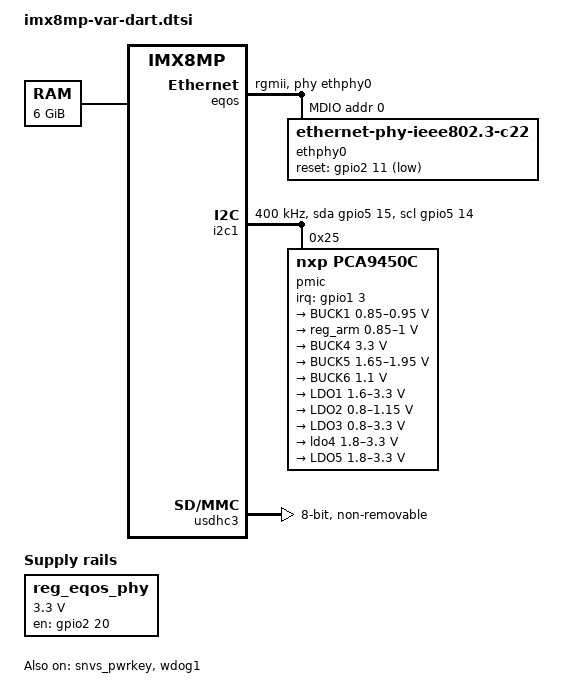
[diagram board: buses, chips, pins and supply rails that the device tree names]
// SPDX-License-Identifier: GPL-2.0-or-later OR MIT
/*
 * Copyright 2019 NXP
 * Copyright 2020-2021 Variscite Ltd.
 * Copyright 2023 Ideas on Board Oy
 */

/dts-v1/;

#include "imx8mp.dtsi"

/ {
	aliases {
		ethernet0 = &eqos;
		ethernet1 = &fec;
	};

	memory@40000000 {
		device_type = "memory";
		reg = <0x0 0x40000000 0 0xc0000000>,
		      <0x1 0x00000000 0 0xc0000000>;
	};

	reg_eqos_phy: regulator-eqos-phy {
		compatible = "regulator-fixed";
		regulator-name = "eqos-phy";
		regulator-min-microvolt = <3300000>;
		regulator-max-microvolt = <3300000>;
		gpio = <&gpio2 20 GPIO_ACTIVE_HIGH>;
		enable-active-high;
		regulator-always-on;
	};
};

&A53_0 {
	cpu-supply = <&reg_arm>;
};

&A53_1 {
	cpu-supply = <&reg_arm>;
};

&A53_2 {
	cpu-supply = <&reg_arm>;
};

&A53_3 {
	cpu-supply = <&reg_arm>;
};

&eqos {
	pinctrl-names = "default";
	pinctrl-0 = <&pinctrl_eqos>;
	phy-mode = "rgmii";
	phy-handle = <&ethphy0>;
	status = "okay";

	mdio {
		compatible = "snps,dwmac-mdio";
		#address-cells = <1>;
		#size-cells = <0>;

		ethphy0: ethernet-phy@0 {
			compatible = "ethernet-phy-ieee802.3-c22";
			reg = <0>;

			pinctrl-names = "default";
			pinctrl-0 = <&pinctrl_eth_phy>;

			eee-broken-1000t;
			reset-gpios = <&gpio2 11 GPIO_ACTIVE_LOW>;
			reset-assert-us = <10000>;
			reset-deassert-us = <20000>;
		};
	};
};

&i2c1 {
	clock-frequency = <400000>;
	pinctrl-names = "default", "gpio";
	pinctrl-0 = <&pinctrl_i2c1>;
	pinctrl-1 = <&pinctrl_i2c1_gpio>;
	scl-gpios = <&gpio5 14 (GPIO_ACTIVE_HIGH | GPIO_OPEN_DRAIN)>;
	sda-gpios = <&gpio5 15 (GPIO_ACTIVE_HIGH | GPIO_OPEN_DRAIN)>;
	status = "okay";

	pmic@25 {
		compatible = "nxp,pca9450c";
		reg = <0x25>;
		pinctrl-names = "default";
		pinctrl-0 = <&pinctrl_pmic>;
		interrupt-parent = <&gpio1>;
		interrupts = <3 IRQ_TYPE_LEVEL_LOW>;

		regulators {
			/*
			 * Powers VDD_SOC. Set the output voltage range to the
			 * typical values for the nominal and overdrive modes.
			 */
			BUCK1 {
				regulator-name = "BUCK1";
				regulator-min-microvolt = <850000>;
				regulator-max-microvolt = <950000>;
				regulator-boot-on;
				regulator-always-on;
				regulator-ramp-delay = <3125>;
			};

			/*
			 * Powers VDD_ARM. Set the output voltage range to the
			 * typical values for the nominal, overdrive and super
			 * overdrive modes.
			 */
			reg_arm: BUCK2 {
				regulator-name = "BUCK2";
				regulator-min-microvolt = <850000>;
				regulator-max-microvolt = <1000000>;
				regulator-boot-on;
				regulator-always-on;
				regulator-ramp-delay = <3125>;
				nxp,dvs-run-voltage = <950000>;
				nxp,dvs-standby-voltage = <850000>;
			};

			/*
			 * Likely powers various 3.3V peripherals. Set the
			 * output voltage to 3.3V.
			 */
			BUCK4 {
				regulator-name = "BUCK4";
				regulator-min-microvolt = <3300000>;
				regulator-max-microvolt = <3300000>;
				regulator-boot-on;
				regulator-always-on;
			};

			/*
			 * Powers at least NVCC_SAI1_SAI5 and the ethernet PHY.
			 * The boot loader sets it to 1.85V to fix an ethernet
			 * PHY reset issue. Set the output voltage range to the
			 * i.MX8MP operating range for 1.8V I/O.
			 */
			BUCK5 {
				regulator-name = "BUCK5";
				regulator-min-microvolt = <1650000>;
				regulator-max-microvolt = <1950000>;
				regulator-boot-on;
				regulator-always-on;
			};

			/*
			 * Likely powers NVCC_DRAM. The board uses LPDDR4, set
			 * the output voltage to 1.1V.
			 */
			BUCK6 {
				regulator-name = "BUCK6";
				regulator-min-microvolt = <1100000>;
				regulator-max-microvolt = <1100000>;
				regulator-boot-on;
				regulator-always-on;
			};

			LDO1 {
				regulator-name = "LDO1";
				regulator-min-microvolt = <1600000>;
				regulator-max-microvolt = <3300000>;
				regulator-boot-on;
				regulator-always-on;
			};

			LDO2 {
				regulator-name = "LDO2";
				regulator-min-microvolt = <800000>;
				regulator-max-microvolt = <1150000>;
				regulator-boot-on;
				regulator-always-on;
			};

			LDO3 {
				regulator-name = "LDO3";
				regulator-min-microvolt = <800000>;
				regulator-max-microvolt = <3300000>;
				regulator-boot-on;
				regulator-always-on;
			};

			/* Powers NVCC_SAI1_SAI5. */
			ldo4: LDO4 {
				regulator-name = "LDO4";
				regulator-min-microvolt = <1800000>;
				regulator-max-microvolt = <3300000>;
				regulator-always-on;
			};

			LDO5 {
				regulator-name = "LDO5";
				regulator-min-microvolt = <1800000>;
				regulator-max-microvolt = <3300000>;
			};
		};
	};
};

&snvs_pwrkey {
	status = "okay";
};

/* eMMC */
&usdhc3 {
	pinctrl-names = "default", "state_100mhz", "state_200mhz";
	pinctrl-0 = <&pinctrl_usdhc3>;
	pinctrl-1 = <&pinctrl_usdhc3_100mhz>;
	pinctrl-2 = <&pinctrl_usdhc3_200mhz>;
	bus-width = <8>;
	no-sd;
	no-sdio;
	non-removable;
	status = "okay";
};

&wdog1 {
	pinctrl-names = "default";
	pinctrl-0 = <&pinctrl_wdog>;
	fsl,ext-reset-output;
	status = "okay";
};

&iomuxc {
	pinctrl_eqos: eqosgrp {
		fsl,pins = <
			MX8MP_IOMUXC_ENET_MDC__ENET_QOS_MDC				0x2
			MX8MP_IOMUXC_ENET_MDIO__ENET_QOS_MDIO				0x2
			MX8MP_IOMUXC_ENET_RD0__ENET_QOS_RGMII_RD0			0x90
			MX8MP_IOMUXC_ENET_RD1__ENET_QOS_RGMII_RD1			0x90
			MX8MP_IOMUXC_ENET_RD2__ENET_QOS_RGMII_RD2			0x90
			MX8MP_IOMUXC_ENET_RD3__ENET_QOS_RGMII_RD3			0x90
			MX8MP_IOMUXC_ENET_RXC__CCM_ENET_QOS_CLOCK_GENERATE_RX_CLK	0x90
			MX8MP_IOMUXC_ENET_RX_CTL__ENET_QOS_RGMII_RX_CTL			0x90
			MX8MP_IOMUXC_ENET_TD0__ENET_QOS_RGMII_TD0			0x16
			MX8MP_IOMUXC_ENET_TD1__ENET_QOS_RGMII_TD1			0x16
			MX8MP_IOMUXC_ENET_TD2__ENET_QOS_RGMII_TD2			0x16
			MX8MP_IOMUXC_ENET_TD3__ENET_QOS_RGMII_TD3			0x16
			MX8MP_IOMUXC_ENET_TX_CTL__ENET_QOS_RGMII_TX_CTL			0x16
			MX8MP_IOMUXC_ENET_TXC__CCM_ENET_QOS_CLOCK_GENERATE_TX_CLK	0x16
		>;
	};

	pinctrl_eth_phy: ethphygrp {
		fsl,pins = <
			MX8MP_IOMUXC_SD2_WP__GPIO2_IO20					0x10
			MX8MP_IOMUXC_SD1_STROBE__GPIO2_IO11				0x10
		>;
	};

	pinctrl_i2c1: i2c1grp {
		fsl,pins = <
			MX8MP_IOMUXC_I2C1_SCL__I2C1_SCL					0x400001c2
			MX8MP_IOMUXC_I2C1_SDA__I2C1_SDA					0x400001c2
		>;
	};

	pinctrl_i2c1_gpio: i2c1gpiogrp {
		fsl,pins = <
			MX8MP_IOMUXC_I2C1_SCL__GPIO5_IO14				0x400001c2
			MX8MP_IOMUXC_I2C1_SDA__GPIO5_IO15				0x400001c2
		>;
	};

	pinctrl_pmic: pmicgrp {
		fsl,pins = <
			MX8MP_IOMUXC_GPIO1_IO03__GPIO1_IO03				0x1c0
		>;
	};

	pinctrl_sai3: sai3grp {
		fsl,pins = <
			MX8MP_IOMUXC_SAI3_TXFS__AUDIOMIX_SAI3_TX_SYNC			0xd6
			MX8MP_IOMUXC_SAI3_TXC__AUDIOMIX_SAI3_TX_BCLK			0xd6
			MX8MP_IOMUXC_SAI3_RXD__AUDIOMIX_SAI3_RX_DATA00			0xd6
			MX8MP_IOMUXC_SAI3_TXD__AUDIOMIX_SAI3_TX_DATA00			0xd6
			MX8MP_IOMUXC_SAI3_MCLK__AUDIOMIX_SAI3_MCLK			0xd6
			MX8MP_IOMUXC_SAI3_RXFS__AUDIOMIX_SAI3_RX_SYNC			0xd6
			MX8MP_IOMUXC_SAI3_RXC__AUDIOMIX_SAI3_RX_BCLK			0xd6
		>;
	};

	pinctrl_usdhc3: usdhc3grp {
		fsl,pins = <
			MX8MP_IOMUXC_NAND_WE_B__USDHC3_CLK				0x190
			MX8MP_IOMUXC_NAND_WP_B__USDHC3_CMD				0x1d0
			MX8MP_IOMUXC_NAND_DATA04__USDHC3_DATA0				0x1d0
			MX8MP_IOMUXC_NAND_DATA05__USDHC3_DATA1				0x1d0
			MX8MP_IOMUXC_NAND_DATA06__USDHC3_DATA2				0x1d0
			MX8MP_IOMUXC_NAND_DATA07__USDHC3_DATA3				0x1d0
			MX8MP_IOMUXC_NAND_RE_B__USDHC3_DATA4				0x1d0
			MX8MP_IOMUXC_NAND_CE2_B__USDHC3_DATA5				0x1d0
			MX8MP_IOMUXC_NAND_CE3_B__USDHC3_DATA6				0x1d0
			MX8MP_IOMUXC_NAND_CLE__USDHC3_DATA7				0x1d0
			MX8MP_IOMUXC_NAND_CE1_B__USDHC3_STROBE				0x190
		>;
	};

	pinctrl_usdhc3_100mhz: usdhc3-100mhzgrp {
		fsl,pins = <
			MX8MP_IOMUXC_NAND_WE_B__USDHC3_CLK				0x194
			MX8MP_IOMUXC_NAND_WP_B__USDHC3_CMD				0x1d4
			MX8MP_IOMUXC_NAND_DATA04__USDHC3_DATA0				0x1d4
			MX8MP_IOMUXC_NAND_DATA05__USDHC3_DATA1				0x1d4
			MX8MP_IOMUXC_NAND_DATA06__USDHC3_DATA2				0x1d4
			MX8MP_IOMUXC_NAND_DATA07__USDHC3_DATA3				0x1d4
			MX8MP_IOMUXC_NAND_RE_B__USDHC3_DATA4				0x1d4
			MX8MP_IOMUXC_NAND_CE2_B__USDHC3_DATA5				0x1d4
			MX8MP_IOMUXC_NAND_CE3_B__USDHC3_DATA6				0x1d4
			MX8MP_IOMUXC_NAND_CLE__USDHC3_DATA7				0x1d4
			MX8MP_IOMUXC_NAND_CE1_B__USDHC3_STROBE				0x194
		>;
	};

	pinctrl_usdhc3_200mhz: usdhc3-200mhzgrp {
		fsl,pins = <
			MX8MP_IOMUXC_NAND_WE_B__USDHC3_CLK				0x196
			MX8MP_IOMUXC_NAND_WP_B__USDHC3_CMD				0x1d6
			MX8MP_IOMUXC_NAND_DATA04__USDHC3_DATA0				0x1d6
			MX8MP_IOMUXC_NAND_DATA05__USDHC3_DATA1				0x1d6
			MX8MP_IOMUXC_NAND_DATA06__USDHC3_DATA2				0x1d6
			MX8MP_IOMUXC_NAND_DATA07__USDHC3_DATA3				0x1d6
			MX8MP_IOMUXC_NAND_RE_B__USDHC3_DATA4				0x1d6
			MX8MP_IOMUXC_NAND_CE2_B__USDHC3_DATA5				0x1d6
			MX8MP_IOMUXC_NAND_CE3_B__USDHC3_DATA6				0x1d6
			MX8MP_IOMUXC_NAND_CLE__USDHC3_DATA7				0x1d6
			MX8MP_IOMUXC_NAND_CE1_B__USDHC3_STROBE				0x196
		>;
	};

	pinctrl_wdog: wdoggrp {
		fsl,pins = <
			MX8MP_IOMUXC_GPIO1_IO02__WDOG1_WDOG_B				0xc6
		>;
	};
};
